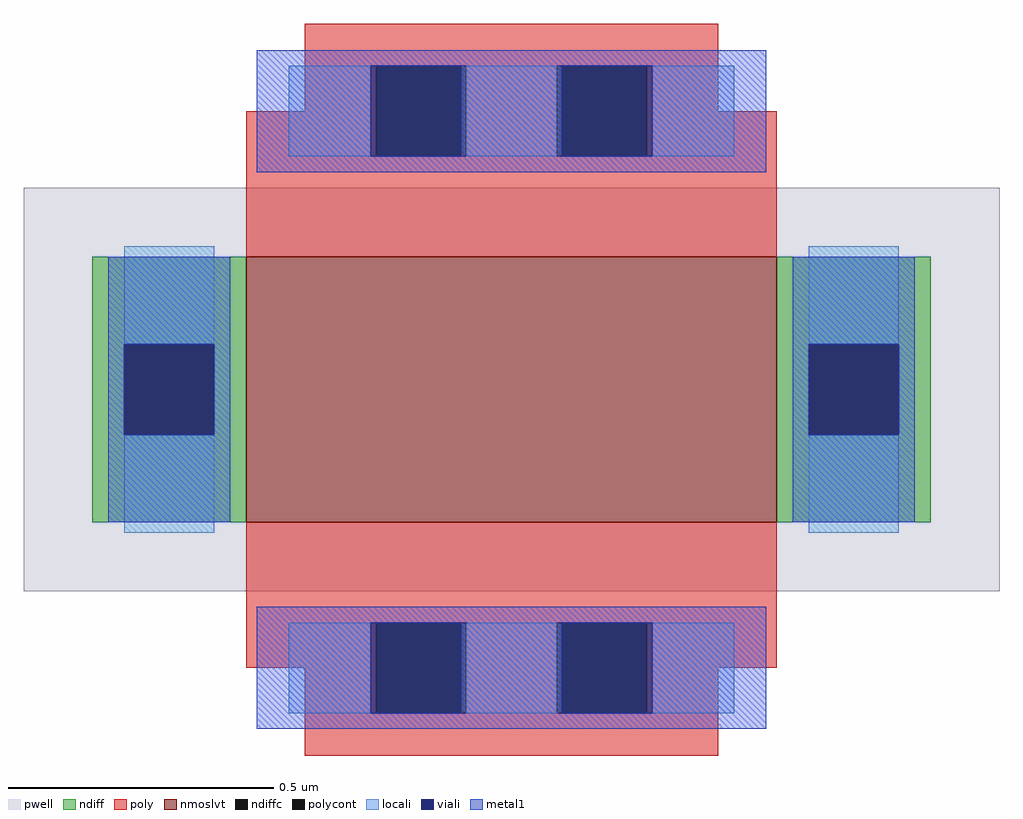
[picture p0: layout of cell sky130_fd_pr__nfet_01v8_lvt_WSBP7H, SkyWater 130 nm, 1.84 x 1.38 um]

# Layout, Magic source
magic
tech sky130A
magscale 1 2
<< pwell >>
rect -184 -76 184 76
<< nmoslvt >>
rect -100 -50 100 50
<< ndiff >>
rect -158 17 -100 50
rect -158 -17 -146 17
rect -112 -17 -100 17
rect -158 -50 -100 -17
rect 100 17 158 50
rect 100 -17 112 17
rect 146 -17 158 17
rect 100 -50 158 -17
<< ndiffc >>
rect -146 -17 -112 17
rect 112 -17 146 17
<< poly >>
rect -78 122 78 138
rect -78 105 -51 122
rect -100 88 -51 105
rect -17 88 17 122
rect 51 105 78 122
rect 51 88 100 105
rect -100 50 100 88
rect -100 -88 100 -50
rect -100 -105 -51 -88
rect -78 -122 -51 -105
rect -17 -122 17 -88
rect 51 -105 100 -88
rect 51 -122 78 -105
rect -78 -138 78 -122
<< polycont >>
rect -51 88 -17 122
rect 17 88 51 122
rect -51 -122 -17 -88
rect 17 -122 51 -88
<< locali >>
rect -84 88 -53 122
rect -17 88 17 122
rect 53 88 84 122
rect -146 17 -112 54
rect -146 -54 -112 -17
rect 112 17 146 54
rect 112 -54 146 -17
rect -84 -122 -53 -88
rect -17 -122 17 -88
rect 53 -122 84 -88
<< viali >>
rect -53 88 -51 122
rect -51 88 -19 122
rect 19 88 51 122
rect 51 88 53 122
rect -146 -17 -112 17
rect 112 -17 146 17
rect -53 -122 -51 -88
rect -51 -122 -19 -88
rect 19 -122 51 -88
rect 51 -122 53 -88
<< metal1 >>
rect -96 122 96 128
rect -96 88 -53 122
rect -19 88 19 122
rect 53 88 96 122
rect -96 82 96 88
rect -152 17 -106 50
rect -152 -17 -146 17
rect -112 -17 -106 17
rect -152 -50 -106 -17
rect 106 17 152 50
rect 106 -17 112 17
rect 146 -17 152 17
rect 106 -50 152 -17
rect -96 -88 96 -82
rect -96 -122 -53 -88
rect -19 -122 19 -88
rect 53 -122 96 -88
rect -96 -128 96 -122
<< end >>
